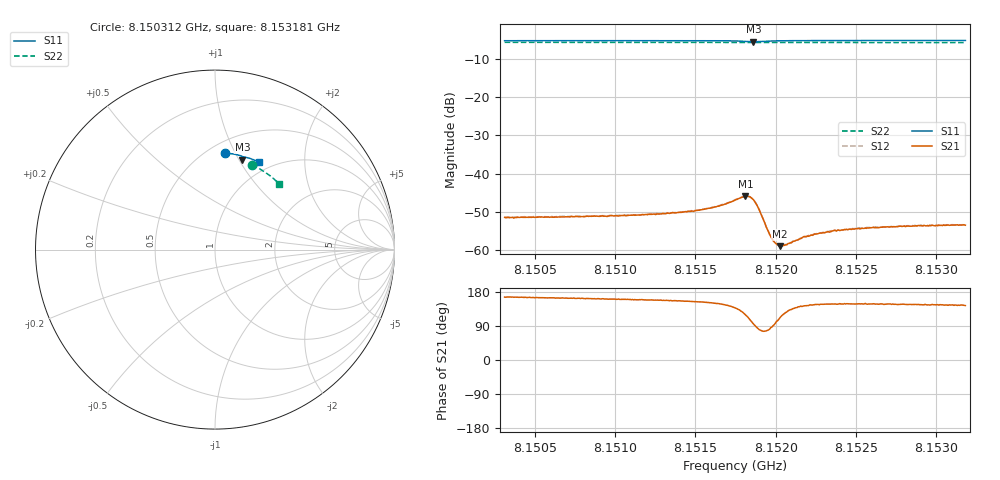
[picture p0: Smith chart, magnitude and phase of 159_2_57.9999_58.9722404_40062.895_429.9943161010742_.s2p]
#  HZ  S  RI  R  50.00
! Rohde & Schwarz Vector Network Analyzer
! Rohde-Schwarz,ZNB20-2Port,1311601062101988,3.16
! Created: UTC 3/21/2024, 12:57:21 AM
! freq[Hz]  re:S11  im:S11  re:S21  im:S21  re:S12  im:S12  re:S22  im:S22
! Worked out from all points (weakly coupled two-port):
!   401 points, 8.150312 GHz to 8.153181 GHz, reference 50 ohm
!   highest |S21| = -45.90 dB at 8.151811 GHz (marker M1); lowest = -58.9 dB at 8.152027 GHz (marker M2)
!   lowest |S11| = -5.6 dB at 8.151862 GHz (marker M3), VSWR 3.20, Z = 37.4 + j51.8 ohm
!   |S11| at or under -10 dB: nowhere
!   |S22| runs from -5.8 to -5.8 dB; largest |S21 - S12| = 0.00014
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8.1503122e9  0.0536 0.5384  -0.00261 0.000652  -0.00263 0.000702  0.2064 0.4723
8.1507928e9  0.0873 0.5347  -0.00264 0.000801  -0.00263 0.000875  0.2342 0.4584
8.1512734e9  0.1213 0.5287  -0.00276 0.00113  -0.00272 0.00116  0.261 0.443
8.1514814e9  0.1366 0.5249  -0.00294 0.00141  -0.00294 0.00145  0.2724 0.4359
8.1515962e9  0.1456 0.5219  -0.00313 0.00172  -0.00309 0.00178  0.2785 0.4317
8.1516823e9  0.1527 0.5183  -0.00331 0.00225  -0.00329 0.00234  0.2831 0.4283
8.1517468e9  0.158 0.5135  -0.00334 0.00303  -0.00334 0.00314  0.2862 0.4259
8.1518114e9  0.1596 0.5051  -0.00252 0.0044  -0.0025 0.00447  0.2894 0.4234
8.1518401e9  0.1568 0.5018  -0.00141 0.00477  -0.00134 0.00482  0.2908 0.4222
8.1518616e9  0.1531 0.5015  -0.000414 0.00456  -0.000359 0.00458  0.2917 0.4216
8.1518903e9  0.1501 0.5047  0.00044 0.0036  0.000536 0.00364  0.2932 0.4206
8.1519477e9  0.1525 0.5119  0.000391 0.00185  0.000442 0.00187  0.2961 0.4188
8.1519764e9  0.1556 0.5139  7.71e-05 0.00142  7.69e-05 0.00145  0.2978 0.4179
8.1520051e9  0.1587 0.5148  -0.000252 0.00119  -0.000217 0.00118  0.2993 0.4167
8.1520266e9  0.161 0.5152  -0.000419 0.00106  -0.000406 0.00107  0.3005 0.416
8.1520696e9  0.1651 0.5153  -0.000707 0.000946  -0.000711 0.000968  0.3028 0.4142
8.15217e9  0.1738 0.514  -0.00118 0.000917  -0.00115 0.000898  0.3081 0.4104
8.1522274e9  0.1784 0.513  -0.00129 0.000902  -0.00131 0.000912  0.3109 0.4081
8.152378e9  0.1895 0.5097  -0.0015 0.000967  -0.00151 0.000982  0.3183 0.402
8.1525287e9  0.2 0.5063  -0.00162 0.00101  -0.00164 0.00105  0.3257 0.3957
8.152708e9  0.2121 0.5016  -0.0017 0.00107  -0.0017 0.00111  0.3344 0.3881
8.1531814e9  0.2426 0.4885  -0.00171 0.00126  -0.00176 0.00129  0.3562 0.3674
